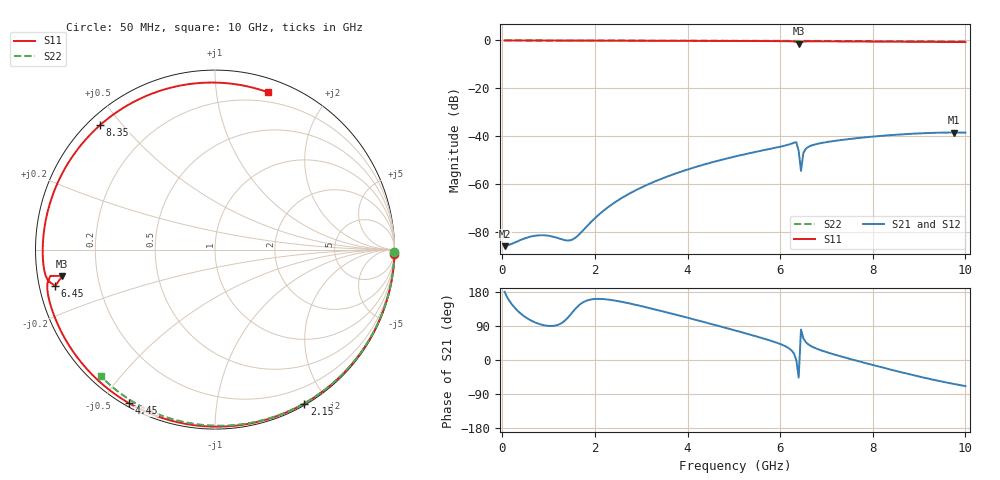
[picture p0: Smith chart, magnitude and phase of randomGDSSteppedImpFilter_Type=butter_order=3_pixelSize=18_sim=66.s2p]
! freq	dB(S11)	phase(S11)	dB(S12)	phase(S12)
!  dB(S21)	phase(S21)	dB(S22)	phase(S22)
!S-par simulation data
#  GHz  S  DB  R 50
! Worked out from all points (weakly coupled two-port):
!   200 points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, 50 MHz to 10 GHz, reference 50 ohm
!   highest |S21| = -38.49 dB at 9.75 GHz (marker M1); lowest = -86.0 dB at 50 MHz (marker M2)
!   lowest |S11| = -1.3 dB at 6.4 GHz (marker M3), VSWR 13.62, Z = 3.7 - j4.25 ohm
!   |S11| at or under -10 dB: nowhere
!   |S22| runs from -0.4 to 0.0 dB; largest |S21 - S12| = 0
!   S11 on the Smith chart (normalised r, x): 50 MHz: 0, -80; 2.15 GHz: 0.02, -1.74; 4.45 GHz: 0.01, -0.59; 6.45 GHz: 0.05, -0.11; 8.35 GHz: 0.03, +0.44; 10 GHz: 0.11, +1.38
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0.05  -0.00 -1.4  -86.02 180.0  -86.02 180.0  -0.00 -0.8
0.85  -0.03 -24.2  -81.45 93.2  -81.45 93.2  -0.02 -12.9
1.7  -0.06 -47.7  -80.32 148.8  -80.32 148.8  -0.03 -25.6
1.75  -0.06 -49.1  -79.30 152.7  -79.30 152.7  -0.03 -26.4
2.15  -0.08 -59.9  -71.75 161.1  -71.75 161.1  -0.04 -32.2
2.7  -0.10 -74.5  -64.51 150.5  -64.51 150.5  -0.05 -40.2
3.4  -0.12 -92.6  -58.13 130.4  -58.13 130.4  -0.07 -50.2
3.9  -0.14 -105.4  -54.60 114.8  -54.60 114.8  -0.08 -57.1
4.45  -0.17 -119.2  -51.37 97.1  -51.37 97.1  -0.09 -64.6
5.05  -0.21 -134.3  -48.41 77.2  -48.41 77.2  -0.11 -72.6
5.85  -0.26 -155.0  -45.07 48.7  -45.07 48.7  -0.14 -82.9
6.35  -0.64 -170.9  -42.55 -0.5  -42.55 -0.5  -0.16 -89.2
6.4  -1.28 -170.2  -46.23 -46.5  -46.23 -46.5  -0.17 -89.8
6.45  -0.79 -167.2  -54.58 80.6  -54.58 80.6  -0.17 -90.4
6.5  -0.48 -169.4  -47.11 57.7  -47.11 57.7  -0.17 -91.1
6.55  -0.40 -171.4  -45.40 47.9  -45.40 47.9  -0.17 -91.7
6.7  -0.35 -176.4  -43.77 34.6  -43.77 34.6  -0.18 -93.5
7.55  -0.42 158.4  -41.09 1.5  -41.09 1.5  -0.23 -103.8
8.35  -0.50 132.7  -39.64 -24.2  -39.64 -24.2  -0.29 -113.2
9.1  -0.58 106.2  -38.78 -46.4  -38.78 -46.4  -0.35 -121.8
9.75  -0.65 81.3  -38.49 -63.2  -38.49 -63.2  -0.42 -129.2
10  -0.68 71.4  -38.55 -68.8  -38.55 -68.8  -0.45 -132.1
